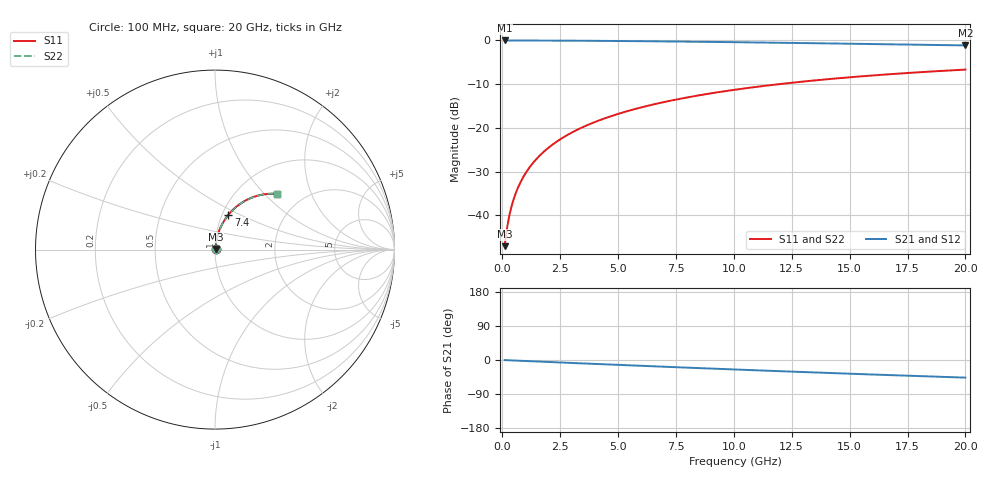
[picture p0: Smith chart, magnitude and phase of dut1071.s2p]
! Touchstone file exported from HFSS 2026.1.0
!  File:  C:/ffzhzh/LocalFiles/Ansys_Project_Files/temp_train_TMRDL_1071_1783160744_22436.aedt
!  Generated:  06:27:04 PM Jul  4, 2026
!  Design:  TMRDL
!  Project:  temp_train_TMRDL_1071_1783160744_22436
! Variables:
!  h_bsmrdl = 2um
!  h_ox = 20um
!  h_rdl = 5um
!  h_sub = 80um
!  h_tmrdl = 4.4um
!  h_tsv = 80um
!  h_via = 3um
!  l_bsmrdl = 300um
!  l_sub = 1062.04um
!  l_tmrdl = 662.04um
!  m_sub = 200um
!  pitch = 51.05um
!  r_tsv = 6um
!  s_tmrdl = 10um
!  w_bsmrdl = 18um
!  w_sub = 500um
!  w_tmrdl = 17.75um
!  x_tsv_center1 = 670.915um
!  x_tsv_center2 = 988.915um
!  x_tsv_center3 = 1668.705um
!  x_tsv_center4 = 1986.705um
!  x_tsv_center5 = 2666.495um
!  x_tsv_center6 = 2984.495um
# GHz S MA R 50.000000
! Terminal data exported
! Port[1] = TM_RDL1_1_T1
! Port[2] = TM_RDL1_1_T2
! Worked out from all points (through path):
!   200 points, 100 MHz to 20 GHz, reference 50 ohm
!   highest |S21| = -0.03 dB at 100 MHz (marker M1); lowest = -1.2 dB at 20 GHz (marker M2)
!   group delay of S21, straight-line fit = 6.47 ps
!   lowest |S11| = -47.1 dB at 100 MHz (marker M3), VSWR 1.01, Z = 50.3 + j0.315 ohm
!   |S11| at or under -10 dB: start of sweep to 11.98 GHz
!   |S22| runs from -47.1 to -6.7 dB; largest |S21 - S12| = 2.6e-15
!   S11 on the Smith chart (normalised r, x): 100 MHz: 1.01, +0.01; 7.4 GHz: 1.07, +0.43; 20 GHz: 1.49, +1.18
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0.1  0.004434 45.0  0.9969 -0.3  0.9969 -0.3  0.004434 45.0
! Gamma 0 0 0 0
! Port Impedance 50 0 50 0
0.2  0.007017 61.9  0.9967 -0.5  0.9967 -0.5  0.007017 61.9
0.3  0.009821 69.2  0.9966 -0.8  0.9966 -0.8  0.009821 69.2
0.4  0.01267 73.1  0.9965 -1.1  0.9965 -1.1  0.01267 73.1
0.5  0.01555 75.5  0.9963 -1.3  0.9963 -1.3  0.01555 75.5
0.6  0.01844 77.2  0.9962 -1.6  0.9962 -1.6  0.01844 77.1
0.8  0.02426 79.1  0.996 -2.1  0.996 -2.1  0.02426 79.1
1.1  0.03303 80.5  0.9956 -2.9  0.9956 -2.9  0.03303 80.4
1.5  0.04474 80.9  0.995 -3.9  0.995 -3.9  0.04474 80.9
1.8  0.05351 80.8  0.9944 -4.7  0.9944 -4.7  0.05351 80.8
2.1  0.06225 80.5  0.9937 -5.5  0.9937 -5.5  0.06225 80.5
2.7  0.07961 79.6  0.9921 -7.0  0.9921 -7.0  0.07961 79.5
3.5  0.1025 77.9  0.9894 -9.1  0.9894 -9.1  0.1025 77.9
4.2  0.1221 76.4  0.9867 -10.9  0.9867 -10.9  0.1221 76.4
5  0.1442 74.6  0.9831 -12.9  0.9831 -12.9  0.1442 74.5
6.8  0.1922 70.4  0.9736 -17.3  0.9736 -17.3  0.1922 70.4
7.4  0.2076 69.0  0.9701 -18.8  0.9701 -18.8  0.2076 69.0
8.7  0.2402 66.0  0.9619 -21.9  0.9619 -21.9  0.2402 66.0
10.1  0.2737 62.9  0.9523 -25.2  0.9523 -25.2  0.2738 62.8
13.4  0.3463 55.6  0.9276 -32.7  0.9276 -32.7  0.3463 55.5
16.7  0.4094 48.7  0.9012 -39.8  0.9012 -39.8  0.4094 48.6
20  0.4629 42.2  0.875 -46.5  0.875 -46.5  0.4629 42.1
